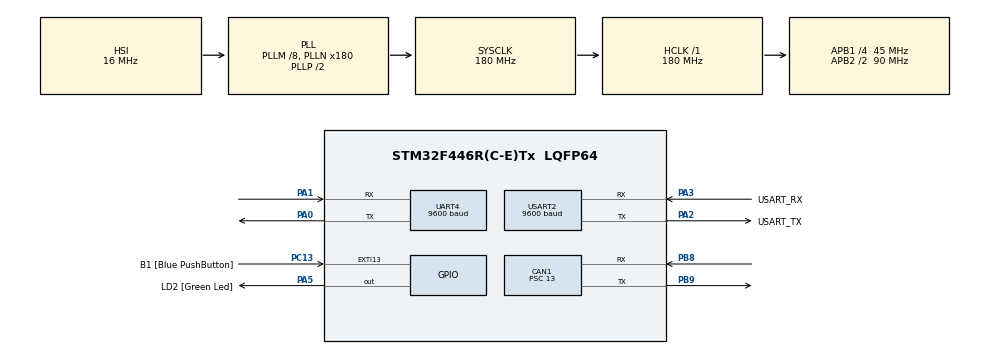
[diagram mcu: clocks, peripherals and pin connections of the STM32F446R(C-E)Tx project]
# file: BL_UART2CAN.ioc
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CAN1.ABOM=ENABLE
CAN1.AWUM=ENABLE
CAN1.BS1=CAN_BS1_4TQ
CAN1.BS2=CAN_BS2_2TQ
CAN1.CalculateBaudRate=494505
CAN1.CalculateTimeBit=2022.22
CAN1.CalculateTimeQuantum=288.88888888888886
CAN1.Prescaler=13
Mcu.Family=STM32F4
Mcu.Name=STM32F446R(C-E)Tx
Mcu.Package=LQFP64
NVIC.CAN1_RX0_IRQn=true\:0\:0\:false\:false\:true\:true\:true
NVIC.PriorityGroup=NVIC_PRIORITYGROUP_0
NVIC.UART4_IRQn=true\:0\:0\:false\:false\:true\:true\:true
NVIC.USART2_IRQn=true\:0\:0\:false\:false\:true\:true\:true
PA0-WKUP.Mode=Asynchronous
PA0-WKUP.Signal=UART4_TX
PA1.Mode=Asynchronous
PA1.Signal=UART4_RX
PA13.GPIO_Label=TMS
PA13.Mode=Serial_Wire
PA13.Signal=SYS_JTMS-SWDIO
PA14.GPIO_Label=TCK
PA14.Mode=Serial_Wire
PA14.Signal=SYS_JTCK-SWCLK
PA2.GPIO_Label=USART_TX
PA2.Mode=Asynchronous
PA2.Signal=USART2_TX
PA3.GPIO_Label=USART_RX
PA3.Mode=Asynchronous
PA3.Signal=USART2_RX
PA5.GPIO_Label=LD2 [Green Led]
PA5.Signal=GPIO_Output
PB3.GPIO_Label=SWO
PB3.Signal=SYS_JTDO-SWO
PB8.Mode=CAN_Activate
PB8.Signal=CAN1_RX
PB9.Mode=CAN_Activate
PB9.Signal=CAN1_TX
PC13.GPIO_Label=B1 [Blue PushButton]
PC13.GPIO_ModeDefaultEXTI=GPIO_MODE_IT_FALLING
PC13.Signal=GPXTI13
PC14-OSC32_IN.Mode=LSE-External-Oscillator
PC14-OSC32_IN.Signal=RCC_OSC32_IN
PC15-OSC32_OUT.Mode=LSE-External-Oscillator
PC15-OSC32_OUT.Signal=RCC_OSC32_OUT
PH0-OSC_IN.Mode=HSE-External-Oscillator
PH0-OSC_IN.Signal=RCC_OSC_IN
PH1-OSC_OUT.Mode=HSE-External-Oscillator
PH1-OSC_OUT.Signal=RCC_OSC_OUT
ProjectManager.HeapSize=0x200
ProjectManager.StackSize=0x400
ProjectManager.TargetToolchain=MDK-ARM V5.27
RCC.48MHZClocksFreq_Value=84000000
RCC.AHBFreq_Value=180000000
RCC.APB1CLKDivider=RCC_HCLK_DIV4
RCC.APB1Freq_Value=45000000
RCC.APB1TimFreq_Value=90000000
RCC.APB2CLKDivider=RCC_HCLK_DIV2
RCC.APB2Freq_Value=90000000
RCC.APB2TimFreq_Value=180000000
RCC.CortexFreq_Value=180000000
RCC.FLatency-AdvancedSettings=FLASH_LATENCY_5
RCC.HCLKFreq_Value=180000000
RCC.HSE_VALUE=8000000
RCC.HSI_VALUE=16000000
RCC.PLLM=8
RCC.PLLN=180
RCC.SYSCLKFreq_VALUE=180000000
RCC.SYSCLKSource=RCC_SYSCLKSOURCE_PLLCLK
RCC.USBFreq_Value=180000000
RCC.VCOOutputFreq_Value=360000000
UART4.BaudRate=9600
UART4.VirtualMode=Asynchronous
USART2.BaudRate=9600
USART2.VirtualMode=VM_ASYNC
board=NUCLEO-F446RE

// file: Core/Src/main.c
/* USER CODE BEGIN Header */
/**
  ******************************************************************************
  * @file           : main.c
  * @brief          : Main program body
  ******************************************************************************
  * @attention
  *
  * <h2><center>&copy; Copyright (c) 2021 STMicroelectronics.
  * All rights reserved.</center></h2>
  *
  * This software component is licensed by ST under BSD 3-Clause license,
  * the "License"; You may not use this file except in compliance with the
  * License. You may obtain a copy of the License at:
  *                        opensource.org/licenses/BSD-3-Clause
  *
  ******************************************************************************
  */
/* USER CODE END Header */
#include "main.h"

/* USER CODE BEGIN Includes */
#include <stdio.h>
#include <string.h>
#include "bco.h"
/* USER CODE END Includes */

CAN_HandleTypeDef hcan1;

UART_HandleTypeDef huart4;
UART_HandleTypeDef huart2;

void SystemClock_Config(void);
static void MX_GPIO_Init(void);
static void MX_USART2_UART_Init(void);
static void MX_UART4_Init(void);
static void MX_CAN1_Init(void);

/* USER CODE BEGIN 0 */

#define BLE_UART_HANDLE huart4
#define USB_UART_HANDLE huart2

CAN_msg response;

//Preusmeri printf na UART4
int fputc(int ch, FILE *f){
	HAL_UART_Transmit(&BLE_UART_HANDLE, (uint8_t *)&ch, 1, 100);
  return ch;
}

void CAN_send(CAN_msg msg)
{
	uint32_t TransmitMailbox = 0;
	CAN_TxHeaderTypeDef can_tx_header;
	can_tx_header.DLC = 8;
	can_tx_header.IDE = 0;
	can_tx_header.RTR = 0;
	//can_tx_header.StdId = 0x600 + msg.can_id;
	can_tx_header.StdId = 0x127; //0x600 + NodeID

	HAL_CAN_AddTxMessage(&hcan1, &can_tx_header, msg.data, &TransmitMailbox);
}

void HAL_CAN_RxFifo0MsgPendingCallback(CAN_HandleTypeDef *hcan) {
	HAL_GPIO_TogglePin(LD2_GPIO_Port, LD2_Pin); //visual test

	CAN_RxHeaderTypeDef can_rx_header;
	HAL_CAN_GetRxMessage (hcan, CAN_RX_FIFO0, &can_rx_header, response.data);

	if(can_rx_header.StdId != 0x128) { //0x580 + NodeID
		return;
	}

	//response.can_id = 0x580 - can_rx_header.StdId;
	response.can_id = can_rx_header.StdId;
	char* response_str = bco_response_parser(response);
	HAL_UART_Transmit(&BLE_UART_HANDLE, (uint8_t*)response_str, strlen(response_str), 100);
}

void CAN_init() {
	CAN_FilterTypeDef sFilterConfig;
	sFilterConfig.FilterBank = 0;
  sFilterConfig.FilterMode = CAN_FILTERMODE_IDMASK;
  sFilterConfig.FilterScale = CAN_FILTERSCALE_32BIT;
  sFilterConfig.FilterIdHigh = 0x0000;
  sFilterConfig.FilterIdLow = 0x0000;
  sFilterConfig.FilterMaskIdHigh = 0x0000;
  sFilterConfig.FilterMaskIdLow = 0x0004;
  sFilterConfig.FilterFIFOAssignment = CAN_RX_FIFO0;
  sFilterConfig.FilterActivation = ENABLE;
  sFilterConfig.SlaveStartFilterBank = 14;

  if (HAL_CAN_ConfigFilter(&hcan1, &sFilterConfig) != HAL_OK)
  {
    /* Filter configuration Error */
    Error_Handler();
  }
	HAL_CAN_Start(&hcan1);
	HAL_CAN_ActivateNotification(&hcan1, CAN_IT_RX_FIFO0_MSG_PENDING);
}

char* serial_reader(char data) {
	static char serial_buffer[128];
	static uint8_t buffer_index = 0;
	if(data == '\n' || data == '\r' || data == ';') {
		serial_buffer[buffer_index] = 0;
		if(!buffer_index)
			return NULL;
		buffer_index  = 0;
		return serial_buffer;
	}
	serial_buffer[buffer_index++] = data;
	return NULL;
}

char data_recieved;
char* serial_data = NULL;
void HAL_UART_RxCpltCallback(UART_HandleTypeDef *huart)
{
	serial_data = serial_reader(data_recieved);
	HAL_UART_Receive_IT(&BLE_UART_HANDLE, (uint8_t*)&data_recieved, 1);
}

/* USER CODE END 0 */

int main(void)
{

  /* MCU Configuration--------------------------------------------------------*/

  /* Reset of all peripherals, Initializes the Flash interface and the Systick. */
  HAL_Init();

  /* Configure the system clock */
  SystemClock_Config();

  /* Initialize all configured peripherals */
  MX_GPIO_Init();
  MX_USART2_UART_Init();
  MX_UART4_Init();
  MX_CAN1_Init();

  /* Infinite loop */
  /* USER CODE BEGIN WHILE */

	CAN_init();
	HAL_UART_Receive_IT(&BLE_UART_HANDLE, (uint8_t*)&data_recieved, 1);

  while (1)
  {
    /* USER CODE END WHILE */

    /* USER CODE BEGIN 3 */
		if(serial_data) {
			CAN_msg parsed = bco_str_command_parser(serial_data);
			if(parsed.can_id)
				CAN_send(parsed);
			serial_data = NULL;
		}
	}
  /* USER CODE END 3 */
}

void SystemClock_Config(void)
{
  RCC_OscInitTypeDef RCC_OscInitStruct = {0};
  RCC_ClkInitTypeDef RCC_ClkInitStruct = {0};

  /** Configure the main internal regulator output voltage
  */
  __HAL_RCC_PWR_CLK_ENABLE();
  __HAL_PWR_VOLTAGESCALING_CONFIG(PWR_REGULATOR_VOLTAGE_SCALE1);
  /** Initializes the RCC Oscillators according to the specified parameters
  * in the RCC_OscInitTypeDef structure.
  */
  RCC_OscInitStruct.OscillatorType = RCC_OSCILLATORTYPE_HSI;
  RCC_OscInitStruct.HSIState = RCC_HSI_ON;
  RCC_OscInitStruct.HSICalibrationValue = RCC_HSICALIBRATION_DEFAULT;
  RCC_OscInitStruct.PLL.PLLState = RCC_PLL_ON;
  RCC_OscInitStruct.PLL.PLLSource = RCC_PLLSOURCE_HSI;
  RCC_OscInitStruct.PLL.PLLM = 8;
  RCC_OscInitStruct.PLL.PLLN = 180;
  RCC_OscInitStruct.PLL.PLLP = RCC_PLLP_DIV2;
  RCC_OscInitStruct.PLL.PLLQ = 2;
  RCC_OscInitStruct.PLL.PLLR = 2;
  if (HAL_RCC_OscConfig(&RCC_OscInitStruct) != HAL_OK)
  {
    Error_Handler();
  }
  /** Activate the Over-Drive mode
  */
  if (HAL_PWREx_EnableOverDrive() != HAL_OK)
  {
    Error_Handler();
  }
  /** Initializes the CPU, AHB and APB buses clocks
  */
  RCC_ClkInitStruct.ClockType = RCC_CLOCKTYPE_HCLK|RCC_CLOCKTYPE_SYSCLK
                              |RCC_CLOCKTYPE_PCLK1|RCC_CLOCKTYPE_PCLK2;
  RCC_ClkInitStruct.SYSCLKSource = RCC_SYSCLKSOURCE_PLLCLK;
  RCC_ClkInitStruct.AHBCLKDivider = RCC_SYSCLK_DIV1;
  RCC_ClkInitStruct.APB1CLKDivider = RCC_HCLK_DIV4;
  RCC_ClkInitStruct.APB2CLKDivider = RCC_HCLK_DIV2;

  if (HAL_RCC_ClockConfig(&RCC_ClkInitStruct, FLASH_LATENCY_5) != HAL_OK)
  {
    Error_Handler();
  }
}

static void MX_CAN1_Init(void)
{

  hcan1.Instance = CAN1;
  hcan1.Init.Prescaler = 13;
  hcan1.Init.Mode = CAN_MODE_NORMAL;
  hcan1.Init.SyncJumpWidth = CAN_SJW_1TQ;
  hcan1.Init.TimeSeg1 = CAN_BS1_4TQ;
  hcan1.Init.TimeSeg2 = CAN_BS2_2TQ;
  hcan1.Init.TimeTriggeredMode = DISABLE;
  hcan1.Init.AutoBusOff = ENABLE;
  hcan1.Init.AutoWakeUp = ENABLE;
  hcan1.Init.AutoRetransmission = DISABLE;
  hcan1.Init.ReceiveFifoLocked = DISABLE;
  hcan1.Init.TransmitFifoPriority = DISABLE;
  if (HAL_CAN_Init(&hcan1) != HAL_OK)
  {
    Error_Handler();
  }

}

static void MX_UART4_Init(void)
{

  huart4.Instance = UART4;
  huart4.Init.BaudRate = 9600;
  huart4.Init.WordLength = UART_WORDLENGTH_8B;
  huart4.Init.StopBits = UART_STOPBITS_1;
  huart4.Init.Parity = UART_PARITY_NONE;
  huart4.Init.Mode = UART_MODE_TX_RX;
  huart4.Init.HwFlowCtl = UART_HWCONTROL_NONE;
  huart4.Init.OverSampling = UART_OVERSAMPLING_16;
  if (HAL_UART_Init(&huart4) != HAL_OK)
  {
    Error_Handler();
  }

}

static void MX_USART2_UART_Init(void)
{

  huart2.Instance = USART2;
  huart2.Init.BaudRate = 9600;
  huart2.Init.WordLength = UART_WORDLENGTH_8B;
  huart2.Init.StopBits = UART_STOPBITS_1;
  huart2.Init.Parity = UART_PARITY_NONE;
  huart2.Init.Mode = UART_MODE_TX_RX;
  huart2.Init.HwFlowCtl = UART_HWCONTROL_NONE;
  huart2.Init.OverSampling = UART_OVERSAMPLING_16;
  if (HAL_UART_Init(&huart2) != HAL_OK)
  {
    Error_Handler();
  }

}

static void MX_GPIO_Init(void)
{
  GPIO_InitTypeDef GPIO_InitStruct = {0};

  /* GPIO Ports Clock Enable */
  __HAL_RCC_GPIOC_CLK_ENABLE();
  __HAL_RCC_GPIOH_CLK_ENABLE();
  __HAL_RCC_GPIOA_CLK_ENABLE();
  __HAL_RCC_GPIOB_CLK_ENABLE();

  /*Configure GPIO pin Output Level */
  HAL_GPIO_WritePin(LD2_GPIO_Port, LD2_Pin, GPIO_PIN_RESET);

  /*Configure GPIO pin : B1_Pin */
  GPIO_InitStruct.Pin = B1_Pin;
  GPIO_InitStruct.Mode = GPIO_MODE_IT_FALLING;
  GPIO_InitStruct.Pull = GPIO_NOPULL;
  HAL_GPIO_Init(B1_GPIO_Port, &GPIO_InitStruct);

  /*Configure GPIO pin : LD2_Pin */
  GPIO_InitStruct.Pin = LD2_Pin;
  GPIO_InitStruct.Mode = GPIO_MODE_OUTPUT_PP;
  GPIO_InitStruct.Pull = GPIO_NOPULL;
  GPIO_InitStruct.Speed = GPIO_SPEED_FREQ_LOW;
  HAL_GPIO_Init(LD2_GPIO_Port, &GPIO_InitStruct);

}

void Error_Handler(void)
{
  __disable_irq();
  while (1)
  {
  }
}

/************************ (C) COPYRIGHT STMicroelectronics *****END OF FILE****/
